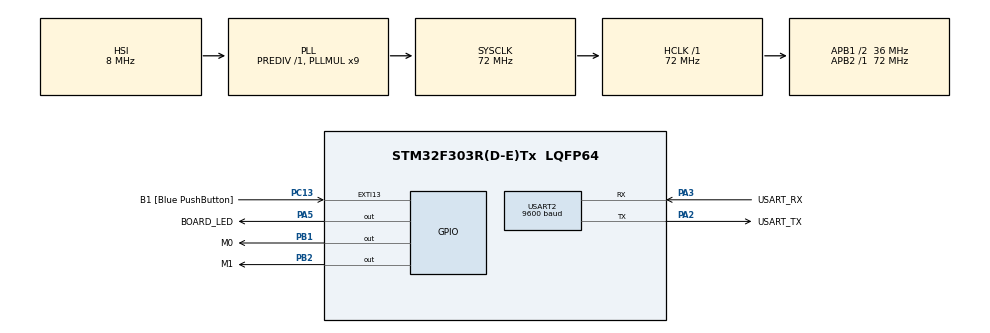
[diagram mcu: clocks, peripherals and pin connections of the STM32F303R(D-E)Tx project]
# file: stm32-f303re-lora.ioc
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Dma.Request0=USART2_RX
Dma.Request1=USART2_TX
Dma.USART2_RX.0.Direction=DMA_PERIPH_TO_MEMORY
Dma.USART2_RX.0.Instance=DMA1_Channel6
Dma.USART2_RX.0.MemDataAlignment=DMA_MDATAALIGN_BYTE
Dma.USART2_RX.0.MemInc=DMA_MINC_ENABLE
Dma.USART2_RX.0.Mode=DMA_NORMAL
Dma.USART2_RX.0.PeriphDataAlignment=DMA_PDATAALIGN_BYTE
Dma.USART2_RX.0.PeriphInc=DMA_PINC_DISABLE
Dma.USART2_RX.0.Priority=DMA_PRIORITY_LOW
Dma.USART2_TX.1.Direction=DMA_MEMORY_TO_PERIPH
Dma.USART2_TX.1.Instance=DMA1_Channel7
Dma.USART2_TX.1.MemDataAlignment=DMA_MDATAALIGN_BYTE
Dma.USART2_TX.1.MemInc=DMA_MINC_ENABLE
Dma.USART2_TX.1.Mode=DMA_NORMAL
Dma.USART2_TX.1.PeriphDataAlignment=DMA_PDATAALIGN_BYTE
Dma.USART2_TX.1.PeriphInc=DMA_PINC_DISABLE
Dma.USART2_TX.1.Priority=DMA_PRIORITY_LOW
FREERTOS.Tasks01=toggle_led,0,128,led_toggle_task,Default,NULL,Dynamic,NULL,NULL;handle_e22,0,128,e22_handle_task,Default,NULL,Dynamic,NULL,NULL;e22_transmit,0,128,e22_transmission_task,Default,NULL,Dynamic,NULL,NULL
Mcu.Family=STM32F3
Mcu.Name=STM32F303R(D-E)Tx
Mcu.Package=LQFP64
NVIC.DMA1_Channel6_IRQn=true\:5\:0\:false\:false\:true\:true\:false\:true\:true
NVIC.DMA1_Channel7_IRQn=true\:5\:0\:false\:false\:true\:true\:false\:true\:true
NVIC.PriorityGroup=NVIC_PRIORITYGROUP_4
NVIC.TIM6_DAC_IRQn=true\:15\:0\:false\:false\:true\:false\:false\:true\:true
NVIC.TimeBase=TIM6_DAC_IRQn
NVIC.TimeBaseIP=TIM6
NVIC.USART2_IRQn=true\:5\:0\:false\:false\:true\:true\:true\:true\:true
PA13.Mode=Trace_Asynchronous_SW
PA13.Signal=SYS_JTMS-SWDIO
PA14.Mode=Trace_Asynchronous_SW
PA14.Signal=SYS_JTCK-SWCLK
PA2.GPIO_Label=USART_TX
PA2.GPIO_Mode=GPIO_MODE_AF_PP
PA2.GPIO_PuPd=GPIO_NOPULL
PA2.GPIO_Speed=GPIO_SPEED_FREQ_HIGH
PA2.Mode=Asynchronous
PA2.Signal=USART2_TX
PA3.GPIO_Label=USART_RX
PA3.GPIO_Mode=GPIO_MODE_AF_PP
PA3.GPIO_PuPd=GPIO_NOPULL
PA3.GPIO_Speed=GPIO_SPEED_FREQ_HIGH
PA3.Mode=Asynchronous
PA3.Signal=USART2_RX
PA5.GPIO_Label=BOARD_LED
PA5.GPIO_Mode=GPIO_MODE_OUTPUT_PP
PA5.GPIO_PuPd=GPIO_NOPULL
PA5.GPIO_Speed=GPIO_SPEED_FREQ_LOW
PA5.Signal=GPIO_Output
PB1.GPIO_Label=M0
PB1.GPIO_Speed=GPIO_SPEED_FREQ_MEDIUM
PB1.Signal=GPIO_Output
PB2.GPIO_Label=M1
PB2.GPIO_Speed=GPIO_SPEED_FREQ_MEDIUM
PB2.Signal=GPIO_Output
PB3.GPIO_Label=SWO
PB3.Mode=Trace_Asynchronous_SW
PB3.Signal=SYS_JTDO-TRACESWO
PC13.GPIO_Label=B1 [Blue PushButton]
PC13.GPIO_ModeDefaultEXTI=GPIO_MODE_IT_FALLING
PC13.Signal=GPXTI13
PC14-OSC32_IN.Mode=LSE-External-Oscillator
PC14-OSC32_IN.Signal=RCC_OSC32_IN
PC15-OSC32_OUT.Mode=LSE-External-Oscillator
PC15-OSC32_OUT.Signal=RCC_OSC32_OUT
PF0-OSC_IN.Mode=HSE-External-Clock-Source
PF0-OSC_IN.Signal=RCC_OSC_IN
PF1-OSC_OUT.Signal=RCC_OSC_OUT
ProjectManager.HeapSize=0x200
ProjectManager.StackSize=0x400
ProjectManager.TargetToolchain=STM32CubeIDE
RCC.AHBFreq_Value=72000000
RCC.APB1CLKDivider=RCC_HCLK_DIV2
RCC.APB1Freq_Value=36000000
RCC.APB1TimFreq_Value=72000000
RCC.APB2Freq_Value=72000000
RCC.APB2TimFreq_Value=72000000
RCC.CortexFreq_Value=72000000
RCC.HCLKFreq_Value=72000000
RCC.HSE_VALUE=8000000
RCC.HSI_VALUE=8000000
RCC.PLLM=8
RCC.PLLMUL=RCC_PLL_MUL9
RCC.PLLN=336
RCC.PLLP=RCC_PLLP_DIV4
RCC.PLLQ=7
RCC.RCC_PLLsource_Clock_Source_FROM_HSE=RCC_HSE_PREDIV_DIV2
RCC.SYSCLKFreq_VALUE=72000000
RCC.SYSCLKSourceVirtual=RCC_SYSCLKSOURCE_PLLCLK
RCC.USBFreq_Value=72000000
USART2.BaudRate=9600
USART2.VirtualMode-Asynchronous=VM_ASYNC
VP_FREERTOS_VS_CMSIS_V1.Mode=CMSIS_V1
VP_SYS_VS_tim6.Mode=TIM6
board=NUCLEO-F303RE

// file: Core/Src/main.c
/* USER CODE BEGIN Header */
/**
  ******************************************************************************
  * @file           : main.c
  * @brief          : Main program body
  ******************************************************************************
  * @attention
  *
  * Copyright (c) 2025 STMicroelectronics.
  * All rights reserved.
  *
  * This software is licensed under terms that can be found in the LICENSE file
  * in the root directory of this software component.
  * If no LICENSE file comes with this software, it is provided AS-IS.
  *
  ******************************************************************************
  */
/* USER CODE END Header */
#include "main.h"
#include "cmsis_os.h"

/* USER CODE BEGIN Includes */
#include "task.h"
#include "e22900t22d.h"
#include "FreeRTOS.h"
/* USER CODE END Includes */

UART_HandleTypeDef huart2;
DMA_HandleTypeDef hdma_usart2_rx;
DMA_HandleTypeDef hdma_usart2_tx;

osThreadId toggle_ledHandle;
osThreadId handle_e22Handle;
osThreadId e22_transmitHandle;

void SystemClock_Config(void);
static void MX_GPIO_Init(void);
static void MX_DMA_Init(void);
static void MX_USART2_UART_Init(void);

/* Make sure function declarations match the implementations */
void led_toggle_task(void * argument);
void e22_handle_task(void * argument);
void e22_transmission_task(void * argument);

/* USER CODE BEGIN PFP */
static void main_e22_transceiverMode(void);
static void main_e22_configurationMode(void);
static void main_lora_packet_receive(uint8_t* dataPacket, uint8_t size);
/* USER CODE END PFP */

int main(void)
{

  /* MCU Configuration--------------------------------------------------------*/

  /* Reset of all peripherals, Initializes the Flash interface and the Systick. */
  HAL_Init();

  /* Configure the system clock */
  SystemClock_Config();

  /* Initialize all configured peripherals */
  MX_GPIO_Init();
  MX_DMA_Init();
  MX_USART2_UART_Init();
  /* USER CODE BEGIN 2 */
  //Initialize e22 LoRa module
  e22_lora_init(&huart2,
		  	  	HAL_UART_Transmit_DMA,
				HAL_UARTEx_ReceiveToIdle_DMA,
				main_lora_packet_receive,
				main_e22_configurationMode,
				main_e22_transceiverMode);

  /* OPTION 1: USE EITHER FreeRTOS API directly */
  /* Comment out this section if using CMSIS-RTOS API below */
  /*
  //Start FreeRTOS task creation
  xTaskCreate(led_toggle_task, "Toggle GPIO13", 128, NULL, 1, NULL);
  xTaskCreate(e22_handle_task, "E22 LoRa Handler", 128 * 4, NULL, 1, NULL);
  xTaskCreate(e22_transmission_task, "E22 LoRa Tx Task", 128 * 4, NULL, 1, NULL);
  vTaskStartScheduler();
  */

  /* USER CODE END 2 */

  /* OPTION 2: USE CMSIS-RTOS API */
  /* Create the thread(s) */
  /* definition and creation of toggle_led */
  osThreadDef(toggle_led, led_toggle_task, osPriorityNormal, 0, 128);
  toggle_ledHandle = osThreadCreate(osThread(toggle_led), NULL);

  /* definition and creation of handle_e22 */
  osThreadDef(handle_e22, e22_handle_task, osPriorityNormal, 0, 512); // Increased stack size
  handle_e22Handle = osThreadCreate(osThread(handle_e22), NULL);

  /* definition and creation of e22_transmit */
  osThreadDef(e22_transmit, e22_transmission_task, osPriorityNormal, 0, 512); // Increased stack size
  e22_transmitHandle = osThreadCreate(osThread(e22_transmit), NULL);

  /* Start scheduler */
  osKernelStart();

  /* We should never get here as control is now taken by the scheduler */

  /* Infinite loop */
  while (1)
  {

  }
}

void SystemClock_Config(void)
{
  RCC_OscInitTypeDef RCC_OscInitStruct = {0};
  RCC_ClkInitTypeDef RCC_ClkInitStruct = {0};
  RCC_PeriphCLKInitTypeDef PeriphClkInit = {0};

  /** Initializes the RCC Oscillators according to the specified parameters
  * in the RCC_OscInitTypeDef structure.
  */
  RCC_OscInitStruct.OscillatorType = RCC_OSCILLATORTYPE_HSI;
  RCC_OscInitStruct.HSIState = RCC_HSI_ON;
  RCC_OscInitStruct.HSICalibrationValue = RCC_HSICALIBRATION_DEFAULT;
  RCC_OscInitStruct.PLL.PLLState = RCC_PLL_ON;
  RCC_OscInitStruct.PLL.PLLSource = RCC_PLLSOURCE_HSI;
  RCC_OscInitStruct.PLL.PLLMUL = RCC_PLL_MUL9;
  RCC_OscInitStruct.PLL.PREDIV = RCC_PREDIV_DIV1;
  if (HAL_RCC_OscConfig(&RCC_OscInitStruct) != HAL_OK)
  {
    Error_Handler();
  }

  /** Initializes the CPU, AHB and APB buses clocks
  */
  RCC_ClkInitStruct.ClockType = RCC_CLOCKTYPE_HCLK|RCC_CLOCKTYPE_SYSCLK
                              |RCC_CLOCKTYPE_PCLK1|RCC_CLOCKTYPE_PCLK2;
  RCC_ClkInitStruct.SYSCLKSource = RCC_SYSCLKSOURCE_PLLCLK;
  RCC_ClkInitStruct.AHBCLKDivider = RCC_SYSCLK_DIV1;
  RCC_ClkInitStruct.APB1CLKDivider = RCC_HCLK_DIV2;
  RCC_ClkInitStruct.APB2CLKDivider = RCC_HCLK_DIV1;

  if (HAL_RCC_ClockConfig(&RCC_ClkInitStruct, FLASH_LATENCY_2) != HAL_OK)
  {
    Error_Handler();
  }
  PeriphClkInit.PeriphClockSelection = RCC_PERIPHCLK_USART2;
  PeriphClkInit.Usart2ClockSelection = RCC_USART2CLKSOURCE_PCLK1;
  if (HAL_RCCEx_PeriphCLKConfig(&PeriphClkInit) != HAL_OK)
  {
    Error_Handler();
  }
}

static void MX_USART2_UART_Init(void)
{

  huart2.Instance = USART2;
  huart2.Init.BaudRate = 9600;
  huart2.Init.WordLength = UART_WORDLENGTH_8B;
  huart2.Init.StopBits = UART_STOPBITS_1;
  huart2.Init.Parity = UART_PARITY_NONE;
  huart2.Init.Mode = UART_MODE_TX_RX;
  huart2.Init.HwFlowCtl = UART_HWCONTROL_NONE;
  huart2.Init.OverSampling = UART_OVERSAMPLING_16;
  huart2.Init.OneBitSampling = UART_ONE_BIT_SAMPLE_DISABLE;
  huart2.AdvancedInit.AdvFeatureInit = UART_ADVFEATURE_NO_INIT;
  if (HAL_UART_Init(&huart2) != HAL_OK)
  {
    Error_Handler();
  }

}

static void MX_DMA_Init(void)
{

  /* DMA controller clock enable */
  __HAL_RCC_DMA1_CLK_ENABLE();

  /* DMA interrupt init */
  /* DMA1_Channel6_IRQn interrupt configuration */
  HAL_NVIC_SetPriority(DMA1_Channel6_IRQn, 5, 0);
  HAL_NVIC_EnableIRQ(DMA1_Channel6_IRQn);
  /* DMA1_Channel7_IRQn interrupt configuration */
  HAL_NVIC_SetPriority(DMA1_Channel7_IRQn, 5, 0);
  HAL_NVIC_EnableIRQ(DMA1_Channel7_IRQn);

}

static void MX_GPIO_Init(void)
{
  GPIO_InitTypeDef GPIO_InitStruct = {0};

  /* GPIO Ports Clock Enable */
  __HAL_RCC_GPIOC_CLK_ENABLE();
  __HAL_RCC_GPIOF_CLK_ENABLE();
  __HAL_RCC_GPIOA_CLK_ENABLE();
  __HAL_RCC_GPIOB_CLK_ENABLE();

  /*Configure GPIO pin Output Level */
  HAL_GPIO_WritePin(BOARD_LED_GPIO_Port, BOARD_LED_Pin, GPIO_PIN_RESET);

  /*Configure GPIO pin Output Level */
  HAL_GPIO_WritePin(GPIOB, M0_Pin|M1_Pin, GPIO_PIN_RESET);

  /*Configure GPIO pin : B1_Pin */
  GPIO_InitStruct.Pin = B1_Pin;
  GPIO_InitStruct.Mode = GPIO_MODE_IT_FALLING;
  GPIO_InitStruct.Pull = GPIO_NOPULL;
  HAL_GPIO_Init(B1_GPIO_Port, &GPIO_InitStruct);

  /*Configure GPIO pin : BOARD_LED_Pin */
  GPIO_InitStruct.Pin = BOARD_LED_Pin;
  GPIO_InitStruct.Mode = GPIO_MODE_OUTPUT_PP;
  GPIO_InitStruct.Pull = GPIO_NOPULL;
  GPIO_InitStruct.Speed = GPIO_SPEED_FREQ_LOW;
  HAL_GPIO_Init(BOARD_LED_GPIO_Port, &GPIO_InitStruct);

  /*Configure GPIO pins : M0_Pin M1_Pin */
  GPIO_InitStruct.Pin = M0_Pin|M1_Pin;
  GPIO_InitStruct.Mode = GPIO_MODE_OUTPUT_PP;
  GPIO_InitStruct.Pull = GPIO_NOPULL;
  GPIO_InitStruct.Speed = GPIO_SPEED_FREQ_MEDIUM;
  HAL_GPIO_Init(GPIOB, &GPIO_InitStruct);

}

/* USER CODE BEGIN 4 */
/**
 * @brief 	LoRa module transceiver mode selection.  when this mode is active, the module configuration can't be modified.
 *
 */
static void main_e22_transceiverMode(void)
{
	HAL_GPIO_WritePin(GPIOB, M0_Pin|M1_Pin, GPIO_PIN_RESET);
}
/**
 * @brief 	LoRa module config mode selection. when this mode is active, wireless communication is inactive.
 *
 */
static void main_e22_configurationMode(void)
{
	HAL_GPIO_WritePin(GPIOB, M0_Pin, GPIO_PIN_RESET);

	HAL_GPIO_WritePin(GPIOB, M1_Pin, GPIO_PIN_SET);
}
/**
 * @brief 	UART data transmission complete callback over DMA
 *
 * @param 	huart	:	Pointer to the UART handler
 */
void HAL_UART_TxCpltCallback(UART_HandleTypeDef *huart)
{
	//Change the TX line state to ready
	e22_lora_make_ready();
}
/**
 * @brief 	UART data reception complete callback over DMA
 *
 * @param 	huart	:	Pointer to the UART handler
 *
 * @param 	Size	:	Packet size received over UART
 */
void HAL_UARTEx_RxEventCallback(UART_HandleTypeDef *huart, uint16_t Size)
{
	e22_lora_reception_complete(Size);
}
/**
 * @brief 	This function is a callback to receives a LoRa packet by copying it from the data packet buffer to the local LoRa packet buffer. It then
 * 			copies the LoRa packet to the main layer.
 *
 * @param 	dataPacket	:	dataPacket Pointer to the buffer containing the received data packet.
 *
 * @param 	size		:	size of the received data packet.
 */
static void main_lora_packet_receive(uint8_t* dataPacket, uint8_t size)
{
	uint8_t loraPacket[MAX_DATA_PACKET_SIZE] = {0};
	//Copy data to the main layer
	memcpy(&loraPacket, dataPacket, size);
	// TODO: implement main layer packet handling

	if(0 == memcmp(loraPacket, "pong", size))
	{
		HAL_GPIO_TogglePin(BOARD_LED_GPIO_Port, BOARD_LED_Pin);
	}
}

/* USER CODE END 4 */

void led_toggle_task(void *argument)
{
  /* USER CODE BEGIN 5 */
    TickType_t xLastWakeTime = xTaskGetTickCount();
    const TickType_t xPeriod = pdMS_TO_TICKS(1000); // 1000ms delay

  /* Infinite loop */
  for(;;)
  {
    HAL_GPIO_TogglePin(BOARD_LED_GPIO_Port, BOARD_LED_Pin);
    vTaskDelayUntil(&xLastWakeTime, xPeriod);
  }
  /* USER CODE END 5 */
}

void e22_handle_task(void *argument)
{
  for(;;)
  {
    osDelay(1);
  }
}

void e22_transmission_task(void *argument)
{
  /* USER CODE BEGIN e22_transmission_task */
    TickType_t xLastWakeTime = xTaskGetTickCount();
    const TickType_t xPeriod = pdMS_TO_TICKS(1000);
    const uint8_t packetSize = 4;
    const uint8_t receiverAddress = 0x09;
    const uint8_t ComChannel = 0x12;
    uint8_t packet[5] = "ping";

  /* Infinite loop */
  for(;;)
  {
    e22_lora_transnit(packet, packetSize, receiverAddress, ComChannel);
    vTaskDelayUntil(&xLastWakeTime, xPeriod);
  }
  /* USER CODE END e22_transmission_task */
}

void HAL_TIM_PeriodElapsedCallback(TIM_HandleTypeDef *htim)
{
  if (htim->Instance == TIM6)
  {
    HAL_IncTick();
  }
}

void Error_Handler(void)
{
  __disable_irq();
  while (1)
  {
  }
}
